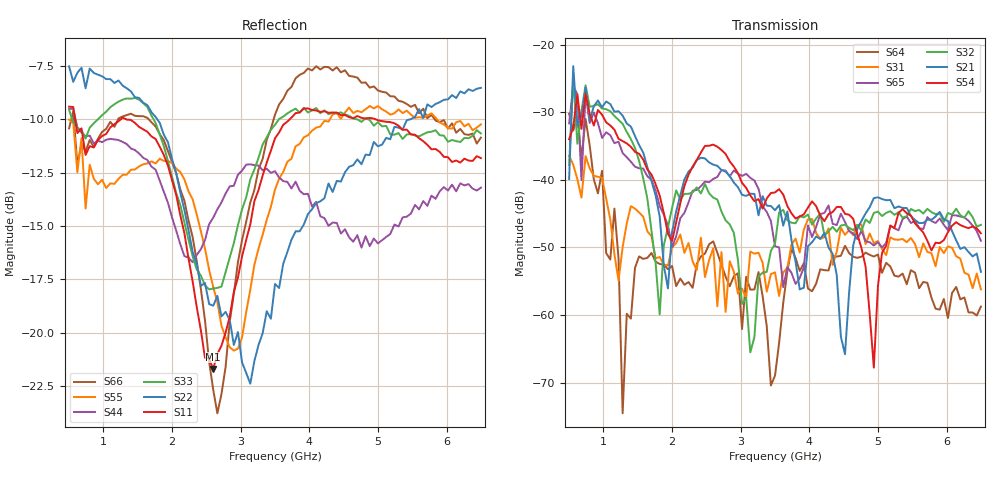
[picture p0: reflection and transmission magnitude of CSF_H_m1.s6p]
!Keysight Technologies,M9804A,MY58100912,A.14.10.03
!Date: Thursday, April 27, 2023 10:28:33
!Correction: S11(C  6-Port  )
!S12(C  6-Port  )
!S13(C  6-Port  )
!S14(C  6-Port  )
!S15(C  6-Port  )
!S16(C  6-Port  )
!S21(C  6-Port  )
!S22(C  6-Port  )
!S23(C  6-Port  )
!S24(C  6-Port  )
!S25(C  6-Port  )
!S26(C  6-Port  )
!S31(C  6-Port  )
!S32(C  6-Port  )
!S33(C  6-Port  )
!S34(C  6-Port  )
!S35(C  6-Port  )
!S36(C  6-Port  )
!S41(C  6-Port  )
!S42(C  6-Port  )
!S43(C  6-Port  )
!S44(C  6-Port  )
!S45(C  6-Port  )
!S46(C  6-Port  )
!S51(C  6-Port  )
!S52(C  6-Port  )
!S53(C  6-Port  )
!S54(C  6-Port  )
!S55(C  6-Port  )
!S56(C  6-Port  )
!S61(C  6-Port  )
!S62(C  6-Port  )
!S63(C  6-Port  )
!S64(C  6-Port  )
!S65(C  6-Port  )
!S66(C  6-Port  )
!S6P File: Measurement: :
# Hz S  RI  R 50
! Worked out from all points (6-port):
!   101 points, 500 MHz to 6.5 GHz, reference 50 ohm
!   strongest paths, dB at 500 MHz, 2 GHz, 3.5 GHz, 5 GHz, 6.5 GHz:
!     S54: -34.0, -49.1, -41.9, -55.7, -47.9
!     S21: -39.9, -47.7, -44.5, -42.6, -53.6
!     S32: -37.8, -44.2, -49.5, -44.7, -46.7
!     S65: -31.6, -50.0, -49.8, -49.2, -49.0
!     S31: -36.4, -50.0, -53.7, -49.0, -56.2
!     S64: -30.2, -52.8, -69.0, -51.0, -58.8
!   lowest |S11| = -21.7 dB at 2.6 GHz (marker M1), VSWR 1.18, Z = 42.6 + j2.01 ohm
!   |S11| at or under -10 dB: 588.4 MHz to 1.251 GHz (662.4 MHz wide, 72 % of centre); 1.334 GHz to 3.713 GHz (2.379 GHz wide, 94.3 % of centre); 4.968 GHz to end of sweep
